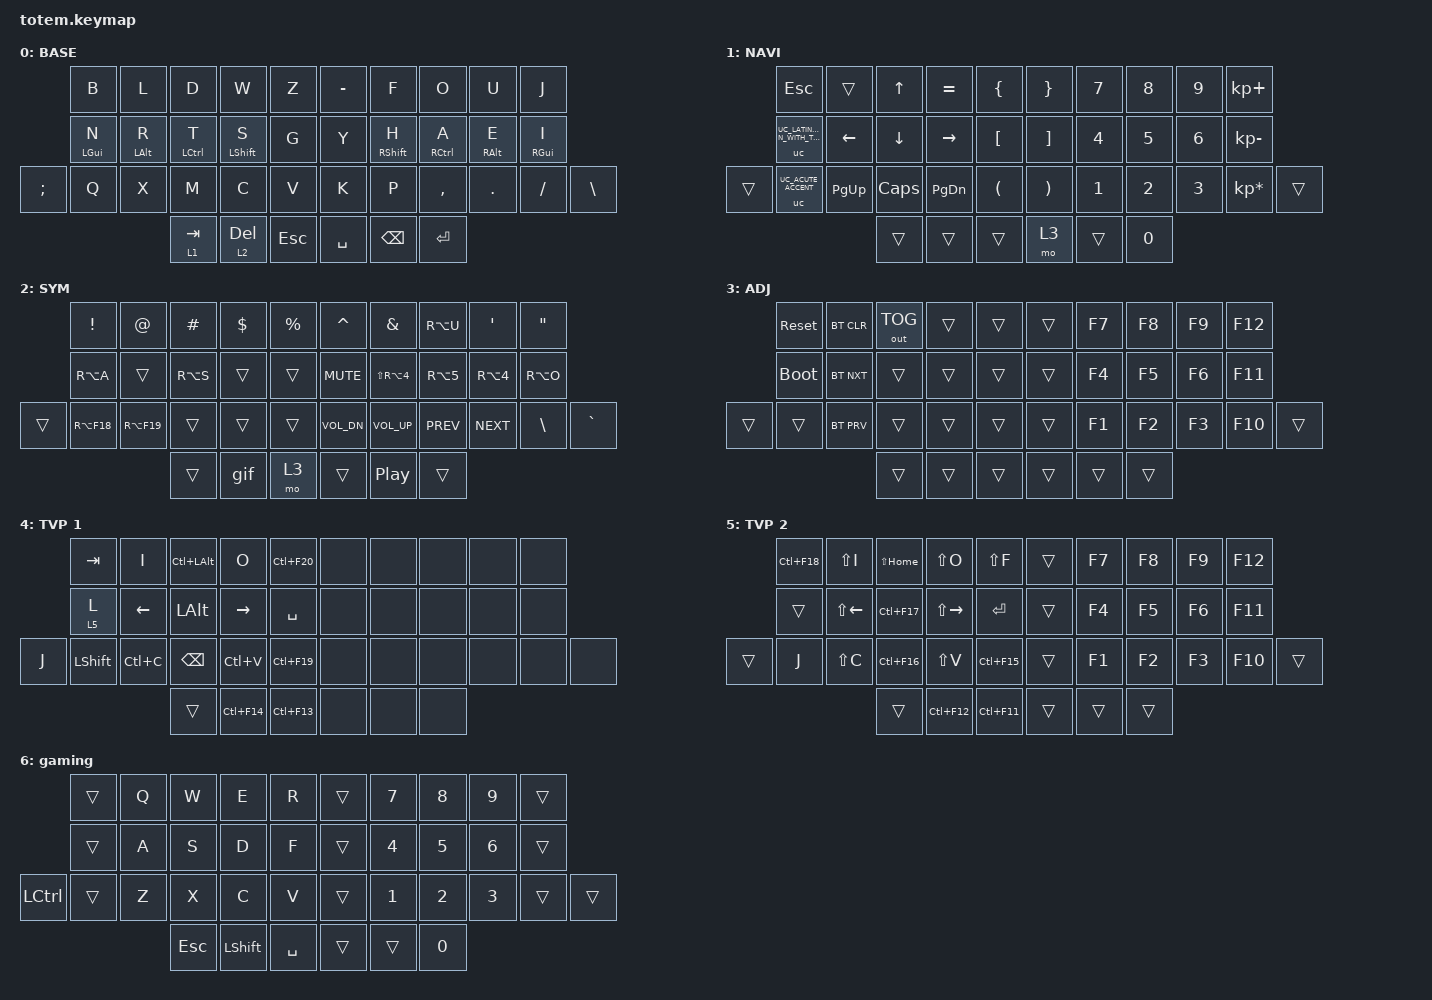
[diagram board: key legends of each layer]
//
//                                                        ▀▀▀▀▀     ▀▀▀▀▀          ▀▀█▀▀
//                                                        ▄▀▀▀▄  ▄  ▄▀▀▀▄  ▄  ▄▀▀▀▄  █  ▄▀▀▀▄
//                                                        █   █  █  █   █  █  █   █  █  █   █
//                                                         ▀▀▀   █   ▀▀▀   █   ▀▀▀   ▀   ▀▀▀
//                                                               █      ▄▄▄█▄▄▄    █   █  
//                                                               ▀      █  █  █     █▄█
//                                                             ▀▀▀▀▀    █  █  █      ▀
//                                                                      ▀  ▀  ▀
//
// ▄▄▄▄▄▄▄▄▄▄▄▄▄▄▄▄▄▄▄▄▄▄▄▄▄▄▄▄▄▄▄▄▄▄▄▄▄▄▄▄▄▄▄▄▄▄▄▄▄▄▄▄▄▄▄▄▄▄▄▄▄▄▄▄▄▄▄▄▄▄▄▄▄▄▄▄▄▄▄▄▄▄▄▄▄▄▄▄▄▄▄▄▄▄▄▄▄▄▄▄▄▄▄▄▄▄▄▄▄▄▄▄▄▄▄▄▄▄▄▄▄▄▄▄▄▄▄▄▄▄▄▄▄▄▄▄▄▄▄▄▄▄▄▄▄▄▄▄▄

#include <behaviors/unicode.dtsi>
#include <zmk-unicode/keys-full.h>
#include <behaviors.dtsi>
#include <dt-bindings/zmk/bt.h>
#include <dt-bindings/zmk/keys.h>
#include <dt-bindings/zmk/outputs.h>

#define BASE 0
#define NAV  1
#define SYM  2
#define ADJ  3
#define TVP1 4
#define TVP2 5

&uc { default-mode = <UC_MODE_MACOS>; };

&mt {
    quick-tap-ms = <100>;
    global-quick-tap;
    flavor = "tap-preferred";
    tapping-term-ms = <200>;
};

&lt { quick-tap-ms = <150>; };

/ {
    combos {
        compatible = "zmk,combos";

        combo_esc {
            timeout-ms = <50>;
            key-positions = <0 1>;
            bindings = <&kp ESC>;
        };

        gaming {
            bindings = <&tog 6>;
            key-positions = <16 17 18>;
        };
    };

    macros {
        gif: gif {
            label = "giphy";
            compatible = "zmk,behavior-macro";
            #binding-cells = <0>;
            bindings =
                <&macro_press>,
                <&kp LSHFT>,
                <&macro_tap>,
                <&kp N2>,
                <&macro_release>,
                <&kp LSHFT>,
                <&macro_tap>,
                <&kp G &kp I &kp F>;
        };
    };

    keymap {
        compatible = "zmk,keymap";

        // ▄▄▄▄▄▄▄▄▄▄▄▄▄▄▄▄▄▄▄▄▄▄▄▄▄▄▄▄▄▄▄▄▄▄▄▄▄▄▄▄▄▄▄▄▄▄▄▄▄▄▄▄▄▄▄▄▄▄▄▄▄▄▄▄▄▄▄▄▄▄▄▄▄▄▄▄▄▄▄▄▄▄▄▄▄▄▄▄▄▄▄▄▄▄▄▄▄▄▄▄▄▄▄▄▄▄▄▄▄▄▄▄▄▄▄▄▄▄▄▄▄▄▄▄▄▄▄▄▄▄▄▄▄▄▄▄▄▄▄▄▄▄▄▄▄▄▄▄▄

        base_layer {
            // ┏━━━━━━━━━━━━━━━━━━━━━━━━━━━━━━━━━━━━━━━┓

            label = "BASE";

            // ┗━━━━━━━━━━━━━━━━━━━━━━━━━━━━━━━━━━━━━━━┛
            //             ┏━━━━━━━━━━━┳━━━━━━━━━━━┳━━━━━━━━━━━┳━━━━━━━━━━━┳━━━━━━━━━━━┓   ┏━━━━━━━━━━━┳━━━━━━━━━━━┳━━━━━━━━━━━┳━━━━━━━━━━━┳━━━━━━━━━━━┓
            //             ┃     Q     ┃     W     ┃     F     ┃     P     ┃     G     ┃   ┃     J     ┃     L     ┃     U     ┃     Y     ┃     ;     ┃
            //             ┣━━━━━━━━━━━╋━━━━━━━━━━━╋━━━━━━━━━━━╋━━━━━━━━━━━╋━━━━━━━━━━━┫   ┣━━━━━━━━━━━╋━━━━━━━━━━━╋━━━━━━━━━━━╋━━━━━━━━━━━╋━━━━━━━━━━━┫
            //             ┃     A     ┃     R     ┃     S     ┃     T     ┃     D     ┃   ┃     H     ┃     N     ┃     E     ┃     I     ┃     O     ┃
            // ┏━━━━━━━━━━━╋━━━━━━━━━━━╋━━━━━━━━━━━╋━━━━━━━━━━━╋━━━━━━━━━━━╋━━━━━━━━━━━┫   ┣━━━━━━━━━━━╋━━━━━━━━━━━╋━━━━━━━━━━━╋━━━━━━━━━━━╋━━━━━━━━━━━╋━━━━━━━━━━━┓
            // ┃     Q     ┃     Z     ┃     X     ┃     C     ┃     V     ┃     B     ┃   ┃     K     ┃     M     ┃     ,     ┃     .     ┃     /     ┃     \     ┃
            // ┗━━━━━━━━━━━┻━━━━━━━━━━━┻━━━━━━━━━━━╋━━━━━━━━━━━╋━━━━━━━━━━━╋━━━━━━━━━━━┫   ┣━━━━━━━━━━━╋━━━━━━━━━━━╋━━━━━━━━━━━╋━━━━━━━━━━━┻━━━━━━━━━━━┻━━━━━━━━━━━┛
            //                                     ┃    DEL    ┃    TAB    ┃    SPC    ┃   ┃   ENTER   ┃           ┃   BSPC    ┃
            //                                     ┗━━━━━━━━━━━┻━━━━━━━━━━━┻━━━━━━━━━━━┛   ┗━━━━━━━━━━━┻━━━━━━━━━━━┻━━━━━━━━━━━┛

            bindings = <
               &kp B       &kp L       &kp D        &kp W         &kp Z         &kp MINUS  &kp F          &kp O        &kp U       &kp J
               &mt LGUI N  &mt LALT R  &mt LCTRL T  &mt LSHFT S   &kp G         &kp Y      &mt RSHFT H    &mt RCTRL A  &mt RALT E  &mt RGUI I
&kp SEMICOLON  &kp Q       &kp X       &kp M        &kp C         &kp V         &kp K      &kp P          &kp COMMA    &kp DOT     &kp FSLH    &kp BSLH
                                       &lt 1 TAB    &lt 2 DELETE  &kp ESCAPE    &kp SPACE  &kp BACKSPACE  &kp ENTER
            >;
        };

        // ▄▄▄▄▄▄▄▄▄▄▄▄▄▄▄▄▄▄▄▄▄▄▄▄▄▄▄▄▄▄▄▄▄▄▄▄▄▄▄▄▄▄▄▄▄▄▄▄▄▄▄▄▄▄▄▄▄▄▄▄▄▄▄▄▄▄▄▄▄▄▄▄▄▄▄▄▄▄▄▄▄▄▄▄▄▄▄▄▄▄▄▄▄▄▄▄▄▄▄▄▄▄▄▄▄▄▄▄▄▄▄▄▄▄▄▄▄▄▄▄▄▄▄▄▄▄▄▄▄▄▄▄▄▄▄▄▄▄▄▄▄▄▄▄▄▄▄▄▄

        nav_layer {
            // ┏━━━━━━━━━━━━━━━━━━━━━━━━━━━━━━━━━━━━━━━┓

            label = "NAVI";

            // ┗━━━━━━━━━━━━━━━━━━━━━━━━━━━━━━━━━━━━━━━┛
            //             ┏━━━━━━━━━━━┳━━━━━━━━━━━┳━━━━━━━━━━━┳━━━━━━━━━━━┳━━━━━━━━━━━┓   ┏━━━━━━━━━━━┳━━━━━━━━━━━┳━━━━━━━━━━━┳━━━━━━━━━━━┳━━━━━━━━━━━┓
            //             ┃           ┃           ┃     UP    ┃           ┃     {     ┃   ┃     }     ┃     7     ┃     8     ┃     9     ┃     +     ┃
            //             ┣━━━━━━━━━━━╋━━━━━━━━━━━╋━━━━━━━━━━━╋━━━━━━━━━━━╋━━━━━━━━━━━┫   ┣━━━━━━━━━━━╋━━━━━━━━━━━╋━━━━━━━━━━━╋━━━━━━━━━━━╋━━━━━━━━━━━┫
            //             ┃   SHIFT   ┃   LEFT    ┃    DOWN   ┃   RIGHT   ┃     [     ┃   ┃     ]     ┃     4     ┃     5     ┃     6     ┃     -     ┃
            // ┏━━━━━━━━━━━╋━━━━━━━━━━━╋━━━━━━━━━━━╋━━━━━━━━━━━╋━━━━━━━━━━━╋━━━━━━━━━━━┫   ┣━━━━━━━━━━━╋━━━━━━━━━━━╋━━━━━━━━━━━╋━━━━━━━━━━━╋━━━━━━━━━━━╋━━━━━━━━━━━┓
            // ┃           ┃           ┃   P UP    ┃  C LOCK   ┃  P DOWN   ┃     (     ┃   ┃     )     ┃     1     ┃     2     ┃     3     ┃     *     ┃           ┃
            // ┗━━━━━━━━━━━┻━━━━━━━━━━━┻━━━━━━━━━━━╋━━━━━━━━━━━╋━━━━━━━━━━━╋━━━━━━━━━━━┫   ┣━━━━━━━━━━━╋━━━━━━━━━━━╋━━━━━━━━━━━╋━━━━━━━━━━━┻━━━━━━━━━━━┻━━━━━━━━━━━┛
            //                                     ┃           ┃    TAB    ┃    SPC    ┃   ┃    DEL    ┃     0     ┃           ┃
            //                                     ┗━━━━━━━━━━━┻━━━━━━━━━━━┻━━━━━━━━━━━┛   ┗━━━━━━━━━━━┻━━━━━━━━━━━┻━━━━━━━━━━━┛

            bindings = <
        &kp ESC                           &trans     &kp UP    &kp EQUAL  &kp LBRC    &kp RBRC  &kp NUMBER_7  &kp NUMBER_8  &kp NUMBER_9  &kp KP_PLUS
        &uc UC_LATIN_LETTER_N_WITH_TILDE  &kp LEFT   &kp DOWN  &kp RIGHT  &kp LBKT    &kp RBKT  &kp NUMBER_4  &kp NUMBER_5  &kp NUMBER_6  &kp KP_MINUS
&trans  &uc UC_ACUTE_ACCENT               &kp PG_UP  &kp CAPS  &kp PG_DN  &kp LPAR    &kp RPAR  &kp NUMBER_1  &kp NUMBER_2  &kp NUMBER_3  &kp KP_MULTIPLY  &trans
                                                     &trans    &trans     &trans      &mo 3     &trans        &kp NUMBER_0
            >;
        };

        // ▄▄▄▄▄▄▄▄▄▄▄▄▄▄▄▄▄▄▄▄▄▄▄▄▄▄▄▄▄▄▄▄▄▄▄▄▄▄▄▄▄▄▄▄▄▄▄▄▄▄▄▄▄▄▄▄▄▄▄▄▄▄▄▄▄▄▄▄▄▄▄▄▄▄▄▄▄▄▄▄▄▄▄▄▄▄▄▄▄▄▄▄▄▄▄▄▄▄▄▄▄▄▄▄▄▄▄▄▄▄▄▄▄▄▄▄▄▄▄▄▄▄▄▄▄▄▄▄▄▄▄▄▄▄▄▄▄▄▄▄▄▄▄▄▄▄▄▄▄

        sim_layer {
            // ┏━━━━━━━━━━━━━━━━━━━━━━━━━━━━━━━━━━━━━━━┓

            label = "SYM";

            // ┗━━━━━━━━━━━━━━━━━━━━━━━━━━━━━━━━━━━━━━━┛
            //             ┏━━━━━━━━━━━┳━━━━━━━━━━━┳━━━━━━━━━━━┳━━━━━━━━━━━┳━━━━━━━━━━━┓   ┏━━━━━━━━━━━┳━━━━━━━━━━━┳━━━━━━━━━━━┳━━━━━━━━━━━┳━━━━━━━━━━━┓
            //             ┃     !     ┃     @     ┃     #     ┃     $     ┃     %     ┃   ┃     ˆ     ┃     &     ┃     Ü     ┃     '     ┃     "     ┃
            //             ┣━━━━━━━━━━━╋━━━━━━━━━━━╋━━━━━━━━━━━╋━━━━━━━━━━━╋━━━━━━━━━━━┫   ┣━━━━━━━━━━━╋━━━━━━━━━━━╋━━━━━━━━━━━╋━━━━━━━━━━━╋━━━━━━━━━━━┫
            //             ┃     Ä     ┃           ┃    SZ     ┃           ┃           ┃   ┃   MUTE    ┃   YEN     ┃   EURO    ┃  POUND    ┃     Ö     ┃
            // ┏━━━━━━━━━━━╋━━━━━━━━━━━╋━━━━━━━━━━━╋━━━━━━━━━━━╋━━━━━━━━━━━╋━━━━━━━━━━━┫   ┣━━━━━━━━━━━╋━━━━━━━━━━━╋━━━━━━━━━━━╋━━━━━━━━━━━╋━━━━━━━━━━━╋━━━━━━━━━━━┓
            // ┃           ┃  EMAIL1   ┃  EMAIL2   ┃           ┃           ┃           ┃   ┃   VOL-    ┃   VOL+    ┃   LAST    ┃   NEXT    ┃     \     ┃           ┃
            // ┗━━━━━━━━━━━┻━━━━━━━━━━━┻━━━━━━━━━━━╋━━━━━━━━━━━╋━━━━━━━━━━━╋━━━━━━━━━━━┫   ┣━━━━━━━━━━━╋━━━━━━━━━━━╋━━━━━━━━━━━╋━━━━━━━━━━━┻━━━━━━━━━━━┻━━━━━━━━━━━┛
            //                                     ┃           ┃    GIF    ┃    ADJ    ┃   ┃           ┃           ┃           ┃
            //                                     ┗━━━━━━━━━━━┻━━━━━━━━━━━┻━━━━━━━━━━━┛   ┗━━━━━━━━━━━┻━━━━━━━━━━━┻━━━━━━━━━━━┛

            bindings = <
        &kp EXCL     &kp AT       &kp HASH   &kp DLLR  &kp PRCNT    &kp CARET     &kp AMPS        &kp RA(U)   &kp SQT     &kp DQT
        &kp RA(A)    &trans       &kp RA(S)  &trans    &trans       &kp C_MUTE    &kp LS(RA(N4))  &kp RA(N5)  &kp RA(N4)  &kp RA(O)
&trans  &kp RA(F18)  &kp RA(F19)  &trans     &trans    &trans       &kp C_VOL_DN  &kp C_VOL_UP    &kp C_PREV  &kp C_NEXT  &kp BSLH   &kp GRAVE
                                  &trans     &gif      &mo 3        &trans        &kp C_PP        &trans
            >;
        };

        // ▄▄▄▄▄▄▄▄▄▄▄▄▄▄▄▄▄▄▄▄▄▄▄▄▄▄▄▄▄▄▄▄▄▄▄▄▄▄▄▄▄▄▄▄▄▄▄▄▄▄▄▄▄▄▄▄▄▄▄▄▄▄▄▄▄▄▄▄▄▄▄▄▄▄▄▄▄▄▄▄▄▄▄▄▄▄▄▄▄▄▄▄▄▄▄▄▄▄▄▄▄▄▄▄▄▄▄▄▄▄▄▄▄▄▄▄▄▄▄▄▄▄▄▄▄▄▄▄▄▄▄▄▄▄▄▄▄▄▄▄▄▄▄▄▄▄▄▄▄

        adjust_layer {
            // ┏━━━━━━━━━━━━━━━━━━━━━━━━━━━━━━━━━━━━━━━┓

            label = "ADJ";

            // ┗━━━━━━━━━━━━━━━━━━━━━━━━━━━━━━━━━━━━━━━┛
            //             ┏━━━━━━━━━━━┳━━━━━━━━━━━┳━━━━━━━━━━━┳━━━━━━━━━━━┳━━━━━━━━━━━┓   ┏━━━━━━━━━━━┳━━━━━━━━━━━┳━━━━━━━━━━━┳━━━━━━━━━━━┳━━━━━━━━━━━┓
            //             ┃   RESET   ┃ BT CLEAR  ┃  OUT TOG  ┃           ┃           ┃   ┃           ┃    F7     ┃    F8     ┃    F9     ┃    F12    ┃
            //             ┣━━━━━━━━━━━╋━━━━━━━━━━━╋━━━━━━━━━━━╋━━━━━━━━━━━╋━━━━━━━━━━━┫   ┣━━━━━━━━━━━╋━━━━━━━━━━━╋━━━━━━━━━━━╋━━━━━━━━━━━╋━━━━━━━━━━━┫
            //             ┃ BOOTLOAD  ┃ BT NEXT   ┃           ┃           ┃           ┃   ┃           ┃    F4     ┃    F5     ┃    F6     ┃    F11    ┃
            // ┏━━━━━━━━━━━╋━━━━━━━━━━━╋━━━━━━━━━━━╋━━━━━━━━━━━╋━━━━━━━━━━━╋━━━━━━━━━━━┫   ┣━━━━━━━━━━━╋━━━━━━━━━━━╋━━━━━━━━━━━╋━━━━━━━━━━━╋━━━━━━━━━━━╋━━━━━━━━━━━┓
            // ┃           ┃           ┃ BT PREV   ┃           ┃           ┃           ┃   ┃           ┃    F1     ┃    F2     ┃    F3     ┃    F10    ┃           ┃
            // ┗━━━━━━━━━━━┻━━━━━━━━━━━┻━━━━━━━━━━━╋━━━━━━━━━━━╋━━━━━━━━━━━╋━━━━━━━━━━━┫   ┣━━━━━━━━━━━╋━━━━━━━━━━━╋━━━━━━━━━━━╋━━━━━━━━━━━┻━━━━━━━━━━━┻━━━━━━━━━━━┛
            //                                     ┃           ┃           ┃           ┃   ┃           ┃           ┃           ┃
            //                                     ┗━━━━━━━━━━━┻━━━━━━━━━━━┻━━━━━━━━━━━┛   ┗━━━━━━━━━━━┻━━━━━━━━━━━┻━━━━━━━━━━━┛

            bindings = <
        &sys_reset   &bt BT_CLR  &out OUT_TOG  &trans  &trans    &trans  &kp F7  &kp F8  &kp F9  &kp F12
        &bootloader  &bt BT_NXT  &trans        &trans  &trans    &trans  &kp F4  &kp F5  &kp F6  &kp F11
&trans  &trans       &bt BT_PRV  &trans        &trans  &trans    &trans  &kp F1  &kp F2  &kp F3  &kp F10  &trans
                                 &trans        &trans  &trans    &trans  &trans  &trans
            >;
        };

        // ▄▄▄▄▄▄▄▄▄▄▄▄▄▄▄▄▄▄▄▄▄▄▄▄▄▄▄▄▄▄▄▄▄▄▄▄▄▄▄▄▄▄▄▄▄▄▄▄▄▄▄▄▄▄▄▄▄▄▄▄▄▄▄▄▄▄▄▄▄▄▄▄▄▄▄▄▄▄▄▄▄▄▄▄▄▄▄▄▄▄▄▄▄▄▄▄▄▄▄▄▄▄▄▄▄▄▄▄▄▄▄▄▄▄▄▄▄▄▄▄▄▄▄▄▄▄▄▄▄▄▄▄▄▄▄▄▄▄▄▄▄▄▄▄▄▄▄▄▄

        tvp1_layer {
            // ┏━━━━━━━━━━━━━━━━━━━━━━━━━━━━━━━━━━━━━━━┓

            label = "TVP 1";

            // ┗━━━━━━━━━━━━━━━━━━━━━━━━━━━━━━━━━━━━━━━┛
            //             ┏━━━━━━━━━━━┳━━━━━━━━━━━┳━━━━━━━━━━━┳━━━━━━━━━━━┳━━━━━━━━━━━┓   ┏━━━━━━━━━━━┳━━━━━━━━━━━┳━━━━━━━━━━━┳━━━━━━━━━━━┳━━━━━━━━━━━┓
            //             ┃ NEXT FILE ┃ MARK IN   ┃ ROTATE    ┃ MARK OUT  ┃ SHOW SNAP ┃   ┃           ┃           ┃           ┃           ┃           ┃
            //             ┣━━━━━━━━━━━╋━━━━━━━━━━━╋━━━━━━━━━━━╋━━━━━━━━━━━╋━━━━━━━━━━━┫   ┣━━━━━━━━━━━╋━━━━━━━━━━━╋━━━━━━━━━━━╋━━━━━━━━━━━╋━━━━━━━━━━━┫
            //             ┃ TVP II    ┃ LEFT      ┃ PAN       ┃ RIGHT     ┃ PLAY/FLIP ┃   ┃           ┃           ┃           ┃           ┃           ┃
            // ┏━━━━━━━━━━━╋━━━━━━━━━━━╋━━━━━━━━━━━╋━━━━━━━━━━━╋━━━━━━━━━━━╋━━━━━━━━━━━┫   ┣━━━━━━━━━━━╋━━━━━━━━━━━╋━━━━━━━━━━━╋━━━━━━━━━━━╋━━━━━━━━━━━╋━━━━━━━━━━━┓
            // ┃ FULLSCR   ┃ SHIFT     ┃ COPY      ┃ DELETE    ┃ PASTE     ┃ IMG MARK  ┃   ┃           ┃           ┃           ┃           ┃           ┃           ┃
            // ┗━━━━━━━━━━━┻━━━━━━━━━━━┻━━━━━━━━━━━╋━━━━━━━━━━━╋━━━━━━━━━━━╋━━━━━━━━━━━┫   ┣━━━━━━━━━━━╋━━━━━━━━━━━╋━━━━━━━━━━━╋━━━━━━━━━━━┻━━━━━━━━━━━┻━━━━━━━━━━━┛
            //                                     ┃           ┃ UNDO/SAVE ┃  SEL/MOV  ┃   ┃           ┃           ┃           ┃
            //                                     ┗━━━━━━━━━━━┻━━━━━━━━━━━┻━━━━━━━━━━━┛   ┗━━━━━━━━━━━┻━━━━━━━━━━━┻━━━━━━━━━━━┛

            bindings = <
       &kp TAB    &kp I      &kp LC(LALT)  &kp O        &kp LC(F20)    &none  &none  &none  &none  &none
       &lt 5 L    &kp LEFT   &kp LALT      &kp RIGHT    &kp SPACE      &none  &none  &none  &none  &none
&kp J  &kp LSHFT  &kp LC(C)  &kp BSPC      &kp LC(V)    &kp LC(F19)    &none  &none  &none  &none  &none  &none
                             &trans        &kp LC(F14)  &kp LC(F13)    &none  &none  &none
            >;
        };

        // ▄▄▄▄▄▄▄▄▄▄▄▄▄▄▄▄▄▄▄▄▄▄▄▄▄▄▄▄▄▄▄▄▄▄▄▄▄▄▄▄▄▄▄▄▄▄▄▄▄▄▄▄▄▄▄▄▄▄▄▄▄▄▄▄▄▄▄▄▄▄▄▄▄▄▄▄▄▄▄▄▄▄▄▄▄▄▄▄▄▄▄▄▄▄▄▄▄▄▄▄▄▄▄▄▄▄▄▄▄▄▄▄▄▄▄▄▄▄▄▄▄▄▄▄▄▄▄▄▄▄▄▄▄▄▄▄▄▄▄▄▄▄▄▄▄▄▄▄▄

        tvp2_layer {
            // ┏━━━━━━━━━━━━━━━━━━━━━━━━━━━━━━━━━━━━━━━┓

            label = "TVP 2";

            // ┗━━━━━━━━━━━━━━━━━━━━━━━━━━━━━━━━━━━━━━━┛
            //             ┏━━━━━━━━━━━┳━━━━━━━━━━━┳━━━━━━━━━━━┳━━━━━━━━━━━┳━━━━━━━━━━━┓   ┏━━━━━━━━━━━┳━━━━━━━━━━━┳━━━━━━━━━━━┳━━━━━━━━━━━┳━━━━━━━━━━━┓
            //             ┃ SOLO      ┃ TOGGLE IN ┃ RESET ROT ┃ TOGGLE OUT┃ TAKE SNAP ┃   ┃           ┃           ┃           ┃           ┃           ┃
            //             ┣━━━━━━━━━━━╋━━━━━━━━━━━╋━━━━━━━━━━━╋━━━━━━━━━━━╋━━━━━━━━━━━┫   ┣━━━━━━━━━━━╋━━━━━━━━━━━╋━━━━━━━━━━━╋━━━━━━━━━━━╋━━━━━━━━━━━┫
            //             ┃ ---       ┃ LAST KEY  ┃ NEW KEY   ┃ NEXT KEY  ┃ ENTER     ┃   ┃           ┃           ┃           ┃           ┃           ┃
            // ┏━━━━━━━━━━━╋━━━━━━━━━━━╋━━━━━━━━━━━╋━━━━━━━━━━━╋━━━━━━━━━━━╋━━━━━━━━━━━┫   ┣━━━━━━━━━━━╋━━━━━━━━━━━╋━━━━━━━━━━━╋━━━━━━━━━━━╋━━━━━━━━━━━╋━━━━━━━━━━━┓
            // ┃           ┃ FULLSCR   ┃ CPY2BRUSH ┃ DEL HEAD  ┃ PSTinPLACE┃ BOOK MARK ┃   ┃           ┃           ┃           ┃           ┃           ┃           ┃
            // ┗━━━━━━━━━━━┻━━━━━━━━━━━┻━━━━━━━━━━━╋━━━━━━━━━━━╋━━━━━━━━━━━╋━━━━━━━━━━━┫   ┣━━━━━━━━━━━╋━━━━━━━━━━━╋━━━━━━━━━━━╋━━━━━━━━━━━┻━━━━━━━━━━━┻━━━━━━━━━━━┛
            //                                     ┃           ┃ REDO/SAV1 ┃TRANS/WARP ┃   ┃           ┃           ┃           ┃
            //                                     ┗━━━━━━━━━━━┻━━━━━━━━━━━┻━━━━━━━━━━━┛   ┗━━━━━━━━━━━┻━━━━━━━━━━━┻━━━━━━━━━━━┛

            bindings = <
        &kp LC(F18)  &kp LS(I)     &kp LS(HOME)  &kp LS(O)      &kp LS(F)      &trans  &kp F7  &kp F8  &kp F9  &kp F12
        &trans       &kp LS(LEFT)  &kp LC(F17)   &kp LS(RIGHT)  &kp RET        &trans  &kp F4  &kp F5  &kp F6  &kp F11
&trans  &kp J        &kp LS(C)     &kp LC(F16)   &kp LS(V)      &kp LC(F15)    &trans  &kp F1  &kp F2  &kp F3  &kp F10  &trans
                                   &trans        &kp LC(F12)    &kp LC(F11)    &trans  &trans  &trans
            >;
        };

        gaming {
            bindings = <
           &trans  &kp Q  &kp W    &kp E           &kp R        &trans  &kp N7  &kp N8  &kp N9  &trans
           &trans  &kp A  &kp S    &kp D           &kp F        &trans  &kp N4  &kp N5  &kp N6  &trans
&kp LCTRL  &trans  &kp Z  &kp X    &kp C           &kp V        &trans  &kp N1  &kp N2  &kp N3  &trans  &trans
                          &kp ESC  &kp LEFT_SHIFT  &kp SPACE    &trans  &trans  &kp N0
            >;
        };
    };
};
